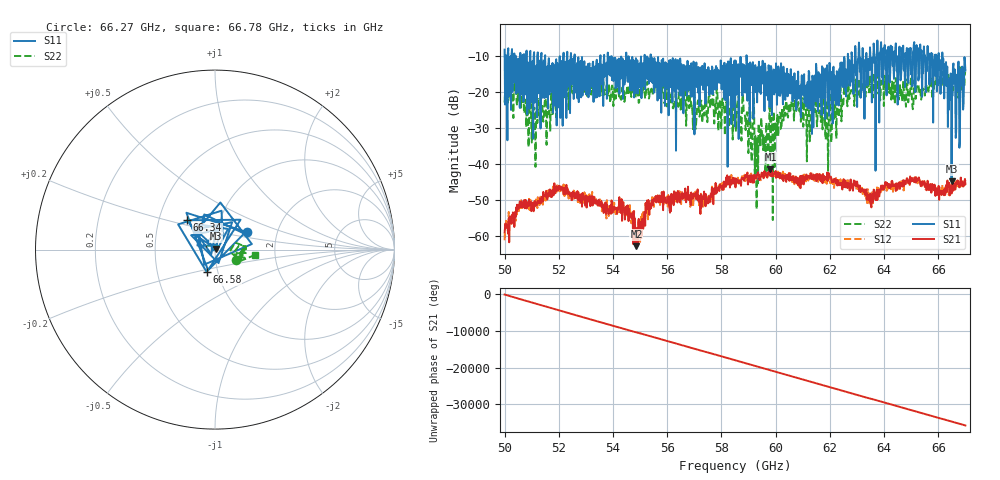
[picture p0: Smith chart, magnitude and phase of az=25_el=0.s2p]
!Created with skrf (http://scikit-rf.org).
# GHz S RI R 50.0
!freq ReS11 ImS11 ReS21 ImS21 ReS12 ImS12 ReS22 ImS22
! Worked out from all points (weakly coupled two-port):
!   1001 points, 50 GHz to 67 GHz, reference 50 ohm
!   highest |S21| = -41.37 dB at 59.81 GHz (marker M1); lowest = -62.7 dB at 54.86 GHz (marker M2)
!   lowest |S11| = -44.7 dB at 66.49 GHz (marker M3), VSWR 1.01, Z = 50.3 + j0.489 ohm
!   |S11| at or under -10 dB: 52.58 GHz to 53.53 GHz (949.7 MHz wide, 1.79 % of centre); 55.39 GHz to 58.92 GHz (3.534 GHz wide, 6.18 % of centre); 58.93 GHz to 62.66 GHz (3.738 GHz wide, 6.15 % of centre) (the widest 3 of 62)
!   |S22| runs from -55.5 to -13.0 dB; largest |S21 - S12| = 0.0022
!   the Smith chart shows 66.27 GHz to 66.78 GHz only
!   S11 on the Smith chart (normalised r, x): 66.27 GHz: 1.39, +0.28; 66.34 GHz: 0.70, +0.24; 66.58 GHz: 0.88, -0.22; 66.78 GHz: 0.98, +0.03
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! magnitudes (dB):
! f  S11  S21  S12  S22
! 50 GHz  -8.3  -58.9  -61.1  -22.9
! 51.07 GHz  -10.0  -53.1  -52.0  -25.0
! 52.84 GHz  -12.3  -48.9  -49.0  -19.3
! 54.3 GHz  -10.2  -50.6  -51.6  -22.1
! 54.86 GHz  -14.1  -62.7  -58.4  -18.4
! 55.68 GHz  -13.5  -49.6  -50.0  -20.9
! 58.5 GHz  -29.6  -43.9  -45.4  -23.1
! 59.11 GHz  -13.0  -43.4  -43.3  -39.3
! 59.32 GHz  -22.9  -42.8  -43.0  -32.9
! 59.45 GHz  -20.5  -43.5  -44.5  -29.5
! 59.81 GHz  -18.3  -41.4  -41.9  -37.4
! 60.57 GHz  -17.9  -43.9  -44.3  -22.6
! 61.34 GHz  -31.6  -44.2  -43.8  -24.6
! 62 GHz  -12.5  -43.7  -43.5  -22.1
! 62.61 GHz  -16.3  -45.1  -44.5  -20.6
! 64.18 GHz  -12.1  -45.4  -45.6  -16.7
! 66.27 GHz  -13.9  -48.0  -46.9  -17.8
! 66.34 GHz  -13.0  -44.5  -46.0  -17.5
! 66.49 GHz  -44.7  -48.1  -46.5  -15.2
! 66.58 GHz  -17.6  -45.3  -45.2  -16.1
! 66.78 GHz  -35.4  -46.4  -45.7  -13.0
! 67 GHz  -14.0  -45.5  -44.4  -14.8
